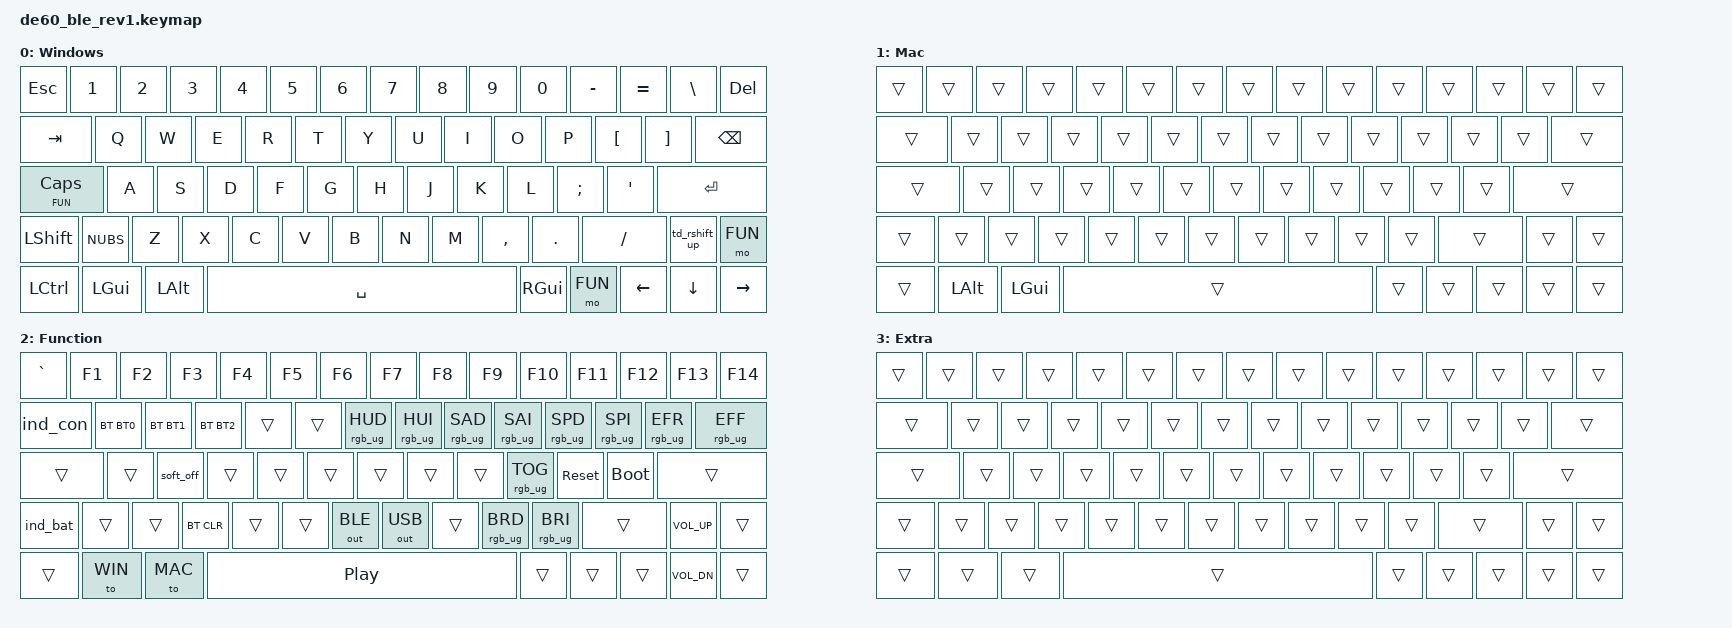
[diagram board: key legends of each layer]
/*
 * Copyright (c) 2025 Deemen17 Works
 *
 * SPDX-License-Identifier: MIT
 */

#include <behaviors.dtsi>
#include <dt-bindings/zmk/keys.h>
#include <dt-bindings/zmk/bt.h>
#include <dt-bindings/zmk/ext_power.h>
#include <dt-bindings/zmk/rgb.h>
#include <dt-bindings/zmk/outputs.h>

#include <behaviors/rgbled_widget.dtsi>

#define BT0 BT_SEL 0
#define BT1 BT_SEL 1
#define BT2 BT_SEL 2
#define BTC BT_CLR 

#define OUTUSB &out OUT_USB
#define OUTBLE &out OUT_BLE
// #define OUTESB &out OUT_ESB  // Future custom ESB endpoint
// ESB switching: OUTUSB → OUTBLE → OUTESB

#define SOOFF &soft_off

#define UGTOG &rgb_ug RGB_TOG
#define UGBRD &rgb_ug RGB_BRD
#define UGBRI &rgb_ug RGB_BRI
#define UGHUD &rgb_ug RGB_HUD
#define UGHUI &rgb_ug RGB_HUI
#define UGSAI &rgb_ug RGB_SAI
#define UGSAD &rgb_ug RGB_SAD
#define UGSPI &rgb_ug RGB_SPI
#define UGSPD &rgb_ug RGB_SPD
#define UGEFF &rgb_ug RGB_EFF
#define UGEFR &rgb_ug RGB_EFR

#define VOLUP &kp C_VOL_UP
#define VOLDN &kp C_VOL_DN

#define RESET &sys_reset
#define BOTLR &bootloader

#define FUN_CLCK &lt FUN CAPS

#define WIN 0
#define MAC 1
#define FUN 2
#define EXT 3

&mt {
    tapping-term-ms = <200>; 
};

&soft_off {
    hold-time-ms = <2000>; // Only turn off it the key is held for 2 seconds or longer.
};


/ {

    behaviors {
        td_rshift_up: tap_dance_rshift_up {
            compatible = "zmk,behavior-tap-dance";
            #binding-cells = <0>;
            tapping-term-ms = <200>;
            bindings = <&kp UP>, <&mt RSHFT UP>;
        };
    };

    keymap {
        compatible = "zmk,keymap";

        base {
            label = "Windows";
            bindings = <
&kp ESC   &kp N1   &kp N2  &kp N3  &kp N4  &kp N5  &kp N6  &kp N7  &kp N8  &kp N9    &kp N0   &kp MINUS &kp EQUAL &kp BSLH  &kp DEL 
&kp TAB   &kp Q    &kp W   &kp E   &kp R   &kp T   &kp Y   &kp U   &kp I   &kp O     &kp P    &kp LBKT  &kp RBKT  &kp BSPC  
FUN_CLCK  &kp A    &kp S   &kp D   &kp F   &kp G   &kp H   &kp J   &kp K   &kp L     &kp SEMI &kp SQT             &kp ENTER 
&kp LSHFT &kp NUBS &kp Z   &kp X   &kp C   &kp V   &kp B   &kp N   &kp M   &kp COMMA &kp DOT  &kp FSLH  &td_rshift_up &mo FUN
&kp LCTRL &kp LGUI &kp LALT                        &kp SPACE               &kp RGUI  &mo FUN  &kp LEFT  &kp DOWN  &kp RIGHT
            >;
        };

        layer_mac {
            label = "Mac";
            bindings = < 
&trans  &trans  &trans  &trans &trans  &trans  &trans  &trans  &trans  &trans  &trans  &trans  &trans  &trans  &trans
&trans  &trans  &trans  &trans &trans  &trans  &trans  &trans  &trans  &trans  &trans  &trans  &trans  &trans
&trans  &trans  &trans  &trans &trans  &trans  &trans  &trans  &trans  &trans  &trans  &trans          &trans
&trans  &trans  &trans  &trans &trans  &trans  &trans  &trans  &trans  &trans  &trans  &trans  &trans  &trans
&trans  &kp LALT &kp LGUI                      &trans                  &trans  &trans  &trans  &trans  &trans
            >;
        };

        layer_function {
            label = "Function";
            bindings = <
&kp GRAVE  &kp F1  &kp F2  &kp F3  &kp F4  &kp F5  &kp F6  &kp F7 &kp F8  &kp F9  &kp F10 &kp F11 &kp F12 &kp F13 &kp F14
&ind_con   &bt BT0 &bt BT1 &bt BT2 &trans  &trans  UGHUD   UGHUI  UGSAD   UGSAI   UGSPD   UGSPI   UGEFR   UGEFF
&trans     &trans  SOOFF   &trans  &trans  &trans  &trans  &trans &trans  UGTOG   RESET   BOTLR           &trans
&ind_bat   &trans  &trans  &bt BTC &trans  &trans  OUTBLE  OUTUSB &trans  UGBRD   UGBRI   &trans  VOLUP   &trans
&trans     &to WIN &to MAC                         &kp C_PP               &trans  &trans  &trans  VOLDN   &trans
            >;
        };

        layer_extra {
            label = "Extra";
            bindings = < 
&trans  &trans  &trans  &trans &trans  &trans  &trans  &trans  &trans  &trans  &trans  &trans  &trans  &trans  &trans
&trans  &trans  &trans  &trans &trans  &trans  &trans  &trans  &trans  &trans  &trans  &trans  &trans  &trans
&trans  &trans  &trans  &trans &trans  &trans  &trans  &trans  &trans  &trans  &trans  &trans          &trans
&trans  &trans  &trans  &trans &trans  &trans  &trans  &trans  &trans  &trans  &trans  &trans  &trans  &trans
&trans  &trans  &trans                         &trans                  &trans  &trans  &trans  &trans  &trans
            >;
        };
    };

};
